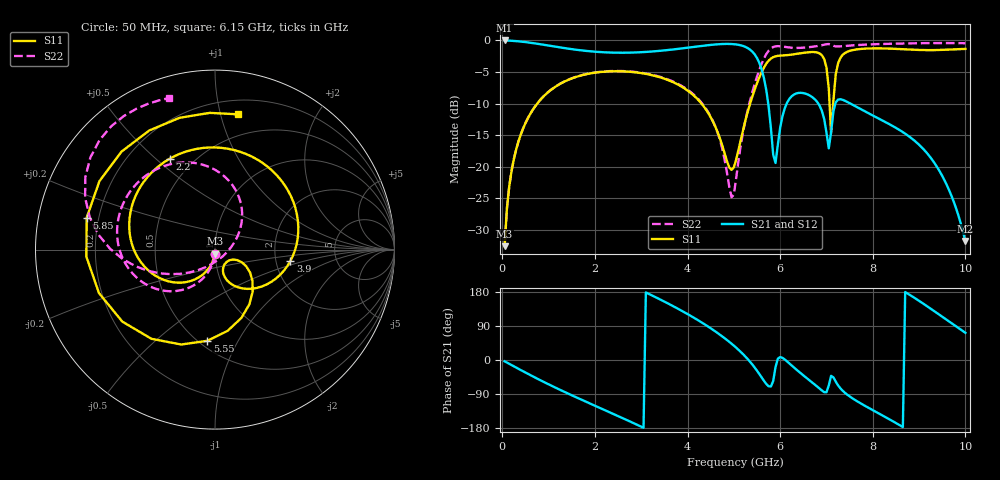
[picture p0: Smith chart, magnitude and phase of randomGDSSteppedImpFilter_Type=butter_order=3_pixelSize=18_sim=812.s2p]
! freq	dB(S11)	phase(S11)	dB(S12)	phase(S12)
!  dB(S21)	phase(S21)	dB(S22)	phase(S22)
!S-par simulation data
#  GHz  S  DB  R 50
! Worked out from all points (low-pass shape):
!   200 points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, 50 MHz to 10 GHz, reference 50 ohm
!   highest |S21| = -0.01 dB at 50 MHz (marker M1); lowest = -31.7 dB at 10 GHz (marker M2)
!   |S21| within 3 dB of the highest: start of sweep to 5.515 GHz
!   lowest |S11| = -32.6 dB at 50 MHz (marker M3), VSWR 1.05, Z = 49.8 - j2.34 ohm
!   |S11| at or under -10 dB: start of sweep to 754.7 MHz; 4.301 GHz to 5.352 GHz (1.05 GHz wide, 21.8 % of centre); 7.067 GHz to 7.145 GHz (78.3 MHz wide, 1.1 % of centre)
!   |S22| runs from -32.6 to -0.4 dB; largest |S21 - S12| = 0
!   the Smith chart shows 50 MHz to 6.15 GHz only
!   S11 on the Smith chart (normalised r, x): 50 MHz: 1.00, -0.05; 2.2 GHz: 0.37, +0.55; 3.9 GHz: 2.41, -0.37; 5.55 GHz: 0.55, -0.76; 5.85 GHz: 0.15, +0.12; 6.15 GHz: 0.31, +1.14
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0.05  -32.57 -93.7  -0.01 -3.4  -0.01 -3.4  -32.56 -92.9
0.5  -13.10 -127.8  -0.27 -33.1  -0.27 -33.1  -13.08 -119.3
1.75  -5.46 146.3  -1.62 -107.0  -1.62 -107.0  -5.43 178.7
2.2  -4.95 116.6  -1.88 -131.5  -1.88 -131.5  -4.91 159.6
3.4  -5.83 31.4  -1.65 160.3  -1.65 160.3  -5.75 109.7
3.9  -7.44 -8.6  -1.25 128.2  -1.25 128.2  -7.32 86.8
4.55  -12.86 -62.2  -0.68 79.6  -0.68 79.6  -12.80 48.9
5.05  -18.88 -29.1  -0.64 32.6  -0.64 32.6  -21.81 -101.9
5.55  -5.85 -94.8  -3.55 -36.9  -3.55 -36.9  -4.66 179.5
5.85  -2.65 166.0  -18.08 -55.6  -18.08 -55.6  -1.04 136.5
6.15  -2.33 80.2  -9.85 -3.8  -9.85 -3.8  -1.09 106.7
6.7  -1.84 -18.6  -9.01 -59.9  -9.01 -59.9  -1.00 77.1
6.95  -2.93 -73.0  -12.42 -84.8  -12.42 -84.8  -0.68 65.0
7.05  -7.58 -126.5  -17.08 -67.1  -17.08 -67.1  -0.58 59.0
7.1  -14.67 154.1  -14.54 -41.8  -14.54 -41.8  -0.68 55.8
7.15  -9.52 50.3  -11.22 -45.8  -11.22 -45.8  -0.85 53.6
7.3  -2.77 -21.2  -9.31 -74.7  -9.31 -74.7  -0.95 48.9
7.75  -1.35 -84.3  -10.92 -115.3  -10.92 -115.3  -0.70 31.7
8.35  -1.29 -144.1  -13.23 -155.8  -13.23 -155.8  -0.54 9.5
8.85  -1.47 158.3  -15.57 168.0  -15.57 168.0  -0.46 -7.6
9.3  -1.54 95.7  -19.07 131.2  -19.07 131.2  -0.42 -22.2
10  -1.34 -0.9  -31.74 71.7  -31.74 71.7  -0.45 -43.7
